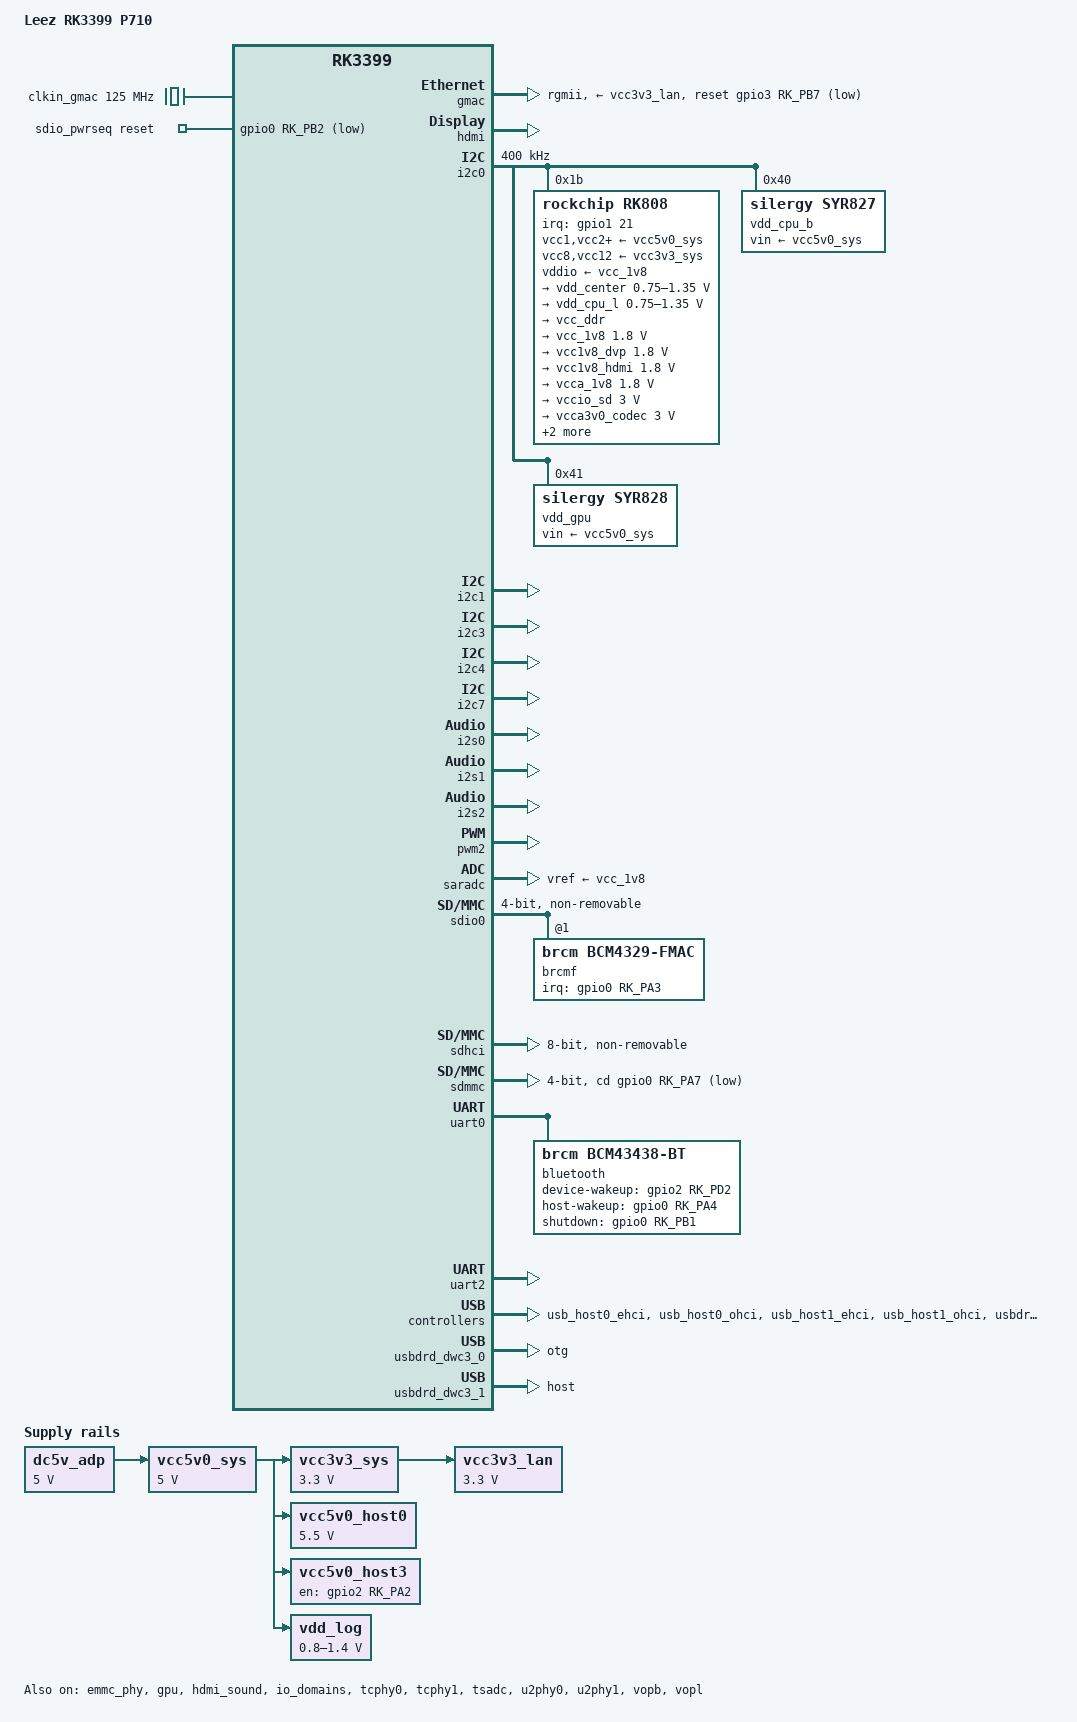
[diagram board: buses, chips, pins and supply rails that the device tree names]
// SPDX-License-Identifier: (GPL-2.0+ OR MIT)
/*
 * Copyright (c) 2019 Andy Yan <andy.yan@gmail.com>
 */

/dts-v1/;
#include <dt-bindings/input/linux-event-codes.h>
#include <dt-bindings/pwm/pwm.h>
#include "rk3399.dtsi"
#include "rk3399-opp.dtsi"

/ {
	model = "Leez RK3399 P710";
	compatible = "leez,p710", "rockchip,rk3399";

	chosen {
		stdout-path = "serial2:1500000n8";
	};

	clkin_gmac: external-gmac-clock {
		compatible = "fixed-clock";
		clock-frequency = <125000000>;
		clock-output-names = "clkin_gmac";
		#clock-cells = <0>;
	};

	sdio_pwrseq: sdio-pwrseq {
		compatible = "mmc-pwrseq-simple";
		clocks = <&rk808 1>;
		clock-names = "ext_clock";
		pinctrl-names = "default";
		pinctrl-0 = <&wifi_reg_on_h>;
		reset-gpios = <&gpio0 RK_PB2 GPIO_ACTIVE_LOW>;
	};

	dc5v_adp: dc5v-adp {
		compatible = "regulator-fixed";
		regulator-name = "dc5v_adapter";
		regulator-always-on;
		regulator-boot-on;
		regulator-min-microvolt = <5000000>;
		regulator-max-microvolt = <5000000>;
	};

	vcc3v3_lan: vcc3v3-lan {
		compatible = "regulator-fixed";
		regulator-name = "vcc3v3_lan";
		regulator-always-on;
		regulator-boot-on;
		regulator-min-microvolt = <3300000>;
		regulator-max-microvolt = <3300000>;
		vin-supply = <&vcc3v3_sys>;
	};

	vcc3v3_sys: vcc3v3-sys {
		compatible = "regulator-fixed";
		regulator-name = "vcc3v3_sys";
		regulator-always-on;
		regulator-boot-on;
		regulator-min-microvolt = <3300000>;
		regulator-max-microvolt = <3300000>;
		vin-supply = <&vcc5v0_sys>;
	};

	vcc5v0_host0: vcc5v0_host1: vcc5v0-host {
		compatible = "regulator-fixed";
		regulator-name = "vcc5v0_host";
		regulator-boot-on;
		regulator-always-on;
		regulator-min-microvolt = <5500000>;
		regulator-max-microvolt = <5500000>;
		vin-supply = <&vcc5v0_sys>;
	};

	vcc5v0_host3: vcc5v0-host3 {
		compatible = "regulator-fixed";
		regulator-name = "vcc5v0_host3";
		enable-active-high;
		gpio = <&gpio2 RK_PA2 GPIO_ACTIVE_HIGH>;
		pinctrl-names = "default";
		pinctrl-0 = <&vcc5v0_host3_en>;
		regulator-always-on;
		vin-supply = <&vcc5v0_sys>;
	};

	vcc5v0_sys: vcc5v0-sys {
		compatible = "regulator-fixed";
		regulator-name = "vcc5v0_sys";
		regulator-always-on;
		regulator-boot-on;
		regulator-min-microvolt = <5000000>;
		regulator-max-microvolt = <5000000>;
		vin-supply = <&dc5v_adp>;
	};

	vdd_log: vdd-log {
		compatible = "pwm-regulator";
		pwms = <&pwm2 0 25000 1>;
		regulator-name = "vdd_log";
		regulator-always-on;
		regulator-boot-on;
		regulator-min-microvolt = <800000>;
		regulator-max-microvolt = <1400000>;
		vin-supply = <&vcc5v0_sys>;
	};
};

&cpu_l0 {
	cpu-supply = <&vdd_cpu_l>;
};

&cpu_l1 {
	cpu-supply = <&vdd_cpu_l>;
};

&cpu_l2 {
	cpu-supply = <&vdd_cpu_l>;
};

&cpu_l3 {
	cpu-supply = <&vdd_cpu_l>;
};

&cpu_b0 {
	cpu-supply = <&vdd_cpu_b>;
};

&cpu_b1 {
	cpu-supply = <&vdd_cpu_b>;
};

&emmc_phy {
	status = "okay";
};

&gmac {
	assigned-clocks = <&cru SCLK_RMII_SRC>;
	assigned-clock-parents = <&clkin_gmac>;
	clock_in_out = "input";
	phy-supply = <&vcc3v3_lan>;
	phy-mode = "rgmii";
	pinctrl-names = "default";
	pinctrl-0 = <&rgmii_pins>;
	snps,reset-gpio = <&gpio3 RK_PB7 GPIO_ACTIVE_LOW>;
	snps,reset-active-low;
	snps,reset-delays-us = <0 10000 50000>;
	tx_delay = <0x28>;
	rx_delay = <0x11>;
	status = "okay";
};

&gpu {
	mali-supply = <&vdd_gpu>;
	status = "okay";
};

&hdmi {
	ddc-i2c-bus = <&i2c7>;
	pinctrl-names = "default";
	pinctrl-0 = <&hdmi_cec>;
	status = "okay";
};

&hdmi_sound {
	status = "okay";
};

&i2c0 {
	clock-frequency = <400000>;
	i2c-scl-rising-time-ns = <168>;
	i2c-scl-falling-time-ns = <4>;
	status = "okay";

	rk808: pmic@1b {
		compatible = "rockchip,rk808";
		reg = <0x1b>;
		interrupt-parent = <&gpio1>;
		interrupts = <21 IRQ_TYPE_LEVEL_LOW>;
		#clock-cells = <1>;
		clock-output-names = "xin32k", "rk808-clkout2";
		pinctrl-names = "default";
		pinctrl-0 = <&pmic_int_l>;
		rockchip,system-power-controller;
		wakeup-source;

		vcc1-supply = <&vcc5v0_sys>;
		vcc2-supply = <&vcc5v0_sys>;
		vcc3-supply = <&vcc5v0_sys>;
		vcc4-supply = <&vcc5v0_sys>;
		vcc6-supply = <&vcc5v0_sys>;
		vcc7-supply = <&vcc5v0_sys>;
		vcc8-supply = <&vcc3v3_sys>;
		vcc9-supply = <&vcc5v0_sys>;
		vcc10-supply = <&vcc5v0_sys>;
		vcc11-supply = <&vcc5v0_sys>;
		vcc12-supply = <&vcc3v3_sys>;
		vddio-supply = <&vcc_1v8>;

		regulators {
			vdd_center: DCDC_REG1 {
				regulator-name = "vdd_center";
				regulator-always-on;
				regulator-boot-on;
				regulator-min-microvolt = <750000>;
				regulator-max-microvolt = <1350000>;
				regulator-ramp-delay = <6001>;
				regulator-state-mem {
					regulator-off-in-suspend;
				};
			};

			vdd_cpu_l: DCDC_REG2 {
				regulator-name = "vdd_cpu_l";
				regulator-always-on;
				regulator-boot-on;
				regulator-min-microvolt = <750000>;
				regulator-max-microvolt = <1350000>;
				regulator-ramp-delay = <6001>;
				regulator-state-mem {
					regulator-off-in-suspend;
				};
			};

			vcc_ddr: DCDC_REG3 {
				regulator-name = "vcc_ddr";
				regulator-always-on;
				regulator-boot-on;
				regulator-state-mem {
					regulator-on-in-suspend;
				};
			};

			vcc_1v8: DCDC_REG4 {
				regulator-name = "vcc_1v8";
				regulator-always-on;
				regulator-boot-on;
				regulator-min-microvolt = <1800000>;
				regulator-max-microvolt = <1800000>;
				regulator-state-mem {
					regulator-on-in-suspend;
					regulator-suspend-microvolt = <1800000>;
				};
			};

			vcc1v8_dvp: LDO_REG1 {
				regulator-name = "vcc1v8_dvp";
				regulator-always-on;
				regulator-boot-on;
				regulator-min-microvolt = <1800000>;
				regulator-max-microvolt = <1800000>;
				regulator-state-mem {
					regulator-off-in-suspend;
				};
			};

			vcc1v8_hdmi: LDO_REG2 {
				regulator-name = "vcc1v8_hdmi";
				regulator-always-on;
				regulator-boot-on;
				regulator-min-microvolt = <1800000>;
				regulator-max-microvolt = <1800000>;
				regulator-state-mem {
					regulator-off-in-suspend;
				};
			};

			vcca_1v8: LDO_REG3 {
				regulator-name = "vcca_1v8";
				regulator-always-on;
				regulator-boot-on;
				regulator-min-microvolt = <1800000>;
				regulator-max-microvolt = <1800000>;
				regulator-state-mem {
					regulator-on-in-suspend;
					regulator-suspend-microvolt = <1800000>;
				};
			};

			vccio_sd: LDO_REG4 {
				regulator-name = "vccio_sd";
				regulator-always-on;
				regulator-boot-on;
				regulator-min-microvolt = <3000000>;
				regulator-max-microvolt = <3000000>;
				regulator-state-mem {
					regulator-on-in-suspend;
					regulator-suspend-microvolt = <3000000>;
				};
			};

			vcca3v0_codec: LDO_REG5 {
				regulator-name = "vcca3v0_codec";
				regulator-always-on;
				regulator-boot-on;
				regulator-min-microvolt = <3000000>;
				regulator-max-microvolt = <3000000>;
				regulator-state-mem {
					regulator-off-in-suspend;
				};
			};

			vcc_1v5: LDO_REG6 {
				regulator-name = "vcc_1v5";
				regulator-always-on;
				regulator-boot-on;
				regulator-min-microvolt = <1500000>;
				regulator-max-microvolt = <1500000>;
				regulator-state-mem {
					regulator-on-in-suspend;
					regulator-suspend-microvolt = <1500000>;
				};
			};

			vcc0v9_hdmi: LDO_REG7 {
				regulator-name = "vcc0v9_hdmi";
				regulator-always-on;
				regulator-boot-on;
				regulator-min-microvolt = <900000>;
				regulator-max-microvolt = <900000>;
				regulator-state-mem {
					regulator-off-in-suspend;
				};
			};

			vcc_3v0: LDO_REG8 {
				regulator-name = "vcc_3v0";
				regulator-always-on;
				regulator-boot-on;
				regulator-min-microvolt = <3000000>;
				regulator-max-microvolt = <3000000>;
				regulator-state-mem {
					regulator-on-in-suspend;
					regulator-suspend-microvolt = <3000000>;
				};
			};
		};
	};

	vdd_cpu_b: regulator@40 {
		compatible = "silergy,syr827";
		reg = <0x40>;
		fcs,suspend-voltage-selector = <1>;
		pinctrl-names = "default";
		pinctrl-0 = <&vsel1_pin>;
		regulator-name = "vdd_cpu_b";
		regulator-min-microvolt = <712500>;
		regulator-max-microvolt = <1500000>;
		regulator-ramp-delay = <1000>;
		regulator-always-on;
		regulator-boot-on;
		vin-supply = <&vcc5v0_sys>;

		regulator-state-mem {
			regulator-off-in-suspend;
		};
	};

	vdd_gpu: regulator@41 {
		compatible = "silergy,syr828";
		reg = <0x41>;
		fcs,suspend-voltage-selector = <1>;
		pinctrl-names = "default";
		pinctrl-0 = <&vsel2_pin>;
		regulator-name = "vdd_gpu";
		regulator-min-microvolt = <712500>;
		regulator-max-microvolt = <1500000>;
		regulator-ramp-delay = <1000>;
		regulator-always-on;
		regulator-boot-on;
		vin-supply = <&vcc5v0_sys>;

		regulator-state-mem {
			regulator-off-in-suspend;
		};
	};
};

&i2c1 {
	i2c-scl-rising-time-ns = <300>;
	i2c-scl-falling-time-ns = <15>;
	status = "okay";
};

&i2c3 {
	i2c-scl-rising-time-ns = <450>;
	i2c-scl-falling-time-ns = <15>;
	status = "okay";
};

&i2c4 {
	i2c-scl-rising-time-ns = <600>;
	i2c-scl-falling-time-ns = <20>;
	status = "okay";
};

&i2c7 {
	status = "okay";
};

&i2s0 {
	rockchip,playback-channels = <8>;
	rockchip,capture-channels = <8>;
	status = "okay";
};

&i2s1 {
	rockchip,playback-channels = <2>;
	rockchip,capture-channels = <2>;
	status = "okay";
};

&i2s2 {
	status = "okay";
};

&io_domains {
	status = "okay";

	bt656-supply = <&vcc1v8_dvp>;
	audio-supply = <&vcc_1v8>;
	sdmmc-supply = <&vccio_sd>;
	gpio1830-supply = <&vcc_3v0>;
};

&pmu_io_domains {
	status = "okay";
	pmu1830-supply = <&vcc_3v0>;
};

&pinctrl {
	bt {
		bt_reg_on_h: bt-reg-on-h {
			rockchip,pins = <0 RK_PB1 RK_FUNC_GPIO &pcfg_pull_none>;
		};

		bt_host_wake_l: bt-host-wake-l {
			rockchip,pins = <0 RK_PA4 RK_FUNC_GPIO &pcfg_pull_none>;
		};

		bt_wake_l: bt-wake-l {
			rockchip,pins = <2 RK_PD2 RK_FUNC_GPIO &pcfg_pull_none>;
		};
	};

	pmic {
		pmic_int_l: pmic-int-l {
			rockchip,pins = <1 RK_PC5 RK_FUNC_GPIO &pcfg_pull_up>;
		};

		vsel1_pin: vsel1-pin {
			rockchip,pins = <1 RK_PC1 RK_FUNC_GPIO &pcfg_pull_down>;
		};

		vsel2_pin: vsel2-pin {
			rockchip,pins = <1 RK_PB6 RK_FUNC_GPIO &pcfg_pull_down>;
		};
	};

	usb2 {
		vcc5v0_host3_en: vcc5v0-host3-en {
			rockchip,pins = <2 RK_PA2 RK_FUNC_GPIO &pcfg_pull_none>;
		};
	};

	wifi {
		wifi_reg_on_h: wifi-reg-on-h {
			rockchip,pins =
				<0 RK_PB2 RK_FUNC_GPIO &pcfg_pull_none>;
		};

		wifi_host_wake_l: wifi-host-wake-l {
			rockchip,pins = <0 RK_PA3 RK_FUNC_GPIO &pcfg_pull_none>;
		};
	};
};

&pwm2 {
	status = "okay";
};

&saradc {
	status = "okay";

	vref-supply = <&vcc_1v8>;
};

&sdio0 {
	#address-cells = <1>;
	#size-cells = <0>;
	bus-width = <4>;
	clock-frequency = <50000000>;
	cap-sdio-irq;
	cap-sd-highspeed;
	keep-power-in-suspend;
	mmc-pwrseq = <&sdio_pwrseq>;
	non-removable;
	pinctrl-names = "default";
	pinctrl-0 = <&sdio0_bus4 &sdio0_cmd &sdio0_clk>;
	sd-uhs-sdr104;
	status = "okay";

	brcmf: wifi@1 {
		compatible = "brcm,bcm4329-fmac";
		reg = <1>;
		interrupt-parent = <&gpio0>;
		interrupts = <RK_PA3 GPIO_ACTIVE_HIGH>;
		interrupt-names = "host-wake";
		pinctrl-names = "default";
		pinctrl-0 = <&wifi_host_wake_l>;
	};
};

&sdhci {
	bus-width = <8>;
	mmc-hs400-1_8v;
	mmc-hs400-enhanced-strobe;
	non-removable;
	status = "okay";
};

&sdmmc {
	bus-width = <4>;
	cap-mmc-highspeed;
	cap-sd-highspeed;
	cd-gpios = <&gpio0 RK_PA7 GPIO_ACTIVE_LOW>;
	disable-wp;
	max-frequency = <150000000>;
	pinctrl-names = "default";
	pinctrl-0 = <&sdmmc_clk &sdmmc_cd &sdmmc_cmd &sdmmc_bus4>;
	status = "okay";
};

&tcphy0 {
	status = "okay";
};

&tcphy1 {
	status = "okay";
};

&tsadc {
	status = "okay";

	/* tshut mode 0:CRU 1:GPIO */
	rockchip,hw-tshut-mode = <1>;
	/* tshut polarity 0:LOW 1:HIGH */
	rockchip,hw-tshut-polarity = <1>;
};

&u2phy0 {
	status = "okay";

	u2phy0_otg: otg-port {
		status = "okay";
	};

	u2phy0_host: host-port {
		phy-supply = <&vcc5v0_host0>;
		status = "okay";
	};
};

&u2phy1 {
	status = "okay";

	u2phy1_otg: otg-port {
		status = "okay";
	};

	u2phy1_host: host-port {
		phy-supply = <&vcc5v0_host1>;
		status = "okay";
	};
};

&uart0 {
	pinctrl-names = "default";
	pinctrl-0 = <&uart0_xfer &uart0_cts &uart0_rts>;
	status = "okay";

	bluetooth {
		compatible = "brcm,bcm43438-bt";
		clocks = <&rk808 1>;
		clock-names = "ext_clock";
		device-wakeup-gpios = <&gpio2 RK_PD2 GPIO_ACTIVE_HIGH>;
		host-wakeup-gpios = <&gpio0 RK_PA4 GPIO_ACTIVE_HIGH>;
		shutdown-gpios = <&gpio0 RK_PB1 GPIO_ACTIVE_HIGH>;
		pinctrl-names = "default";
		pinctrl-0 = <&bt_host_wake_l &bt_wake_l &bt_reg_on_h>;
	};
};

&uart2 {
	status = "okay";
};

&usb_host0_ehci {
	status = "okay";
};

&usb_host0_ohci {
	status = "okay";
};

&usb_host1_ehci {
	status = "okay";
};

&usb_host1_ohci {
	status = "okay";
};

&usbdrd3_0 {
	status = "okay";
};

&usbdrd_dwc3_0 {
	status = "okay";
	dr_mode = "otg";
};

&usbdrd3_1 {
	status = "okay";
};

&usbdrd_dwc3_1 {
	status = "okay";
	dr_mode = "host";
};

&vopb {
	status = "okay";
};

&vopb_mmu {
	status = "okay";
};

&vopl {
	status = "okay";
};

&vopl_mmu {
	status = "okay";
};
